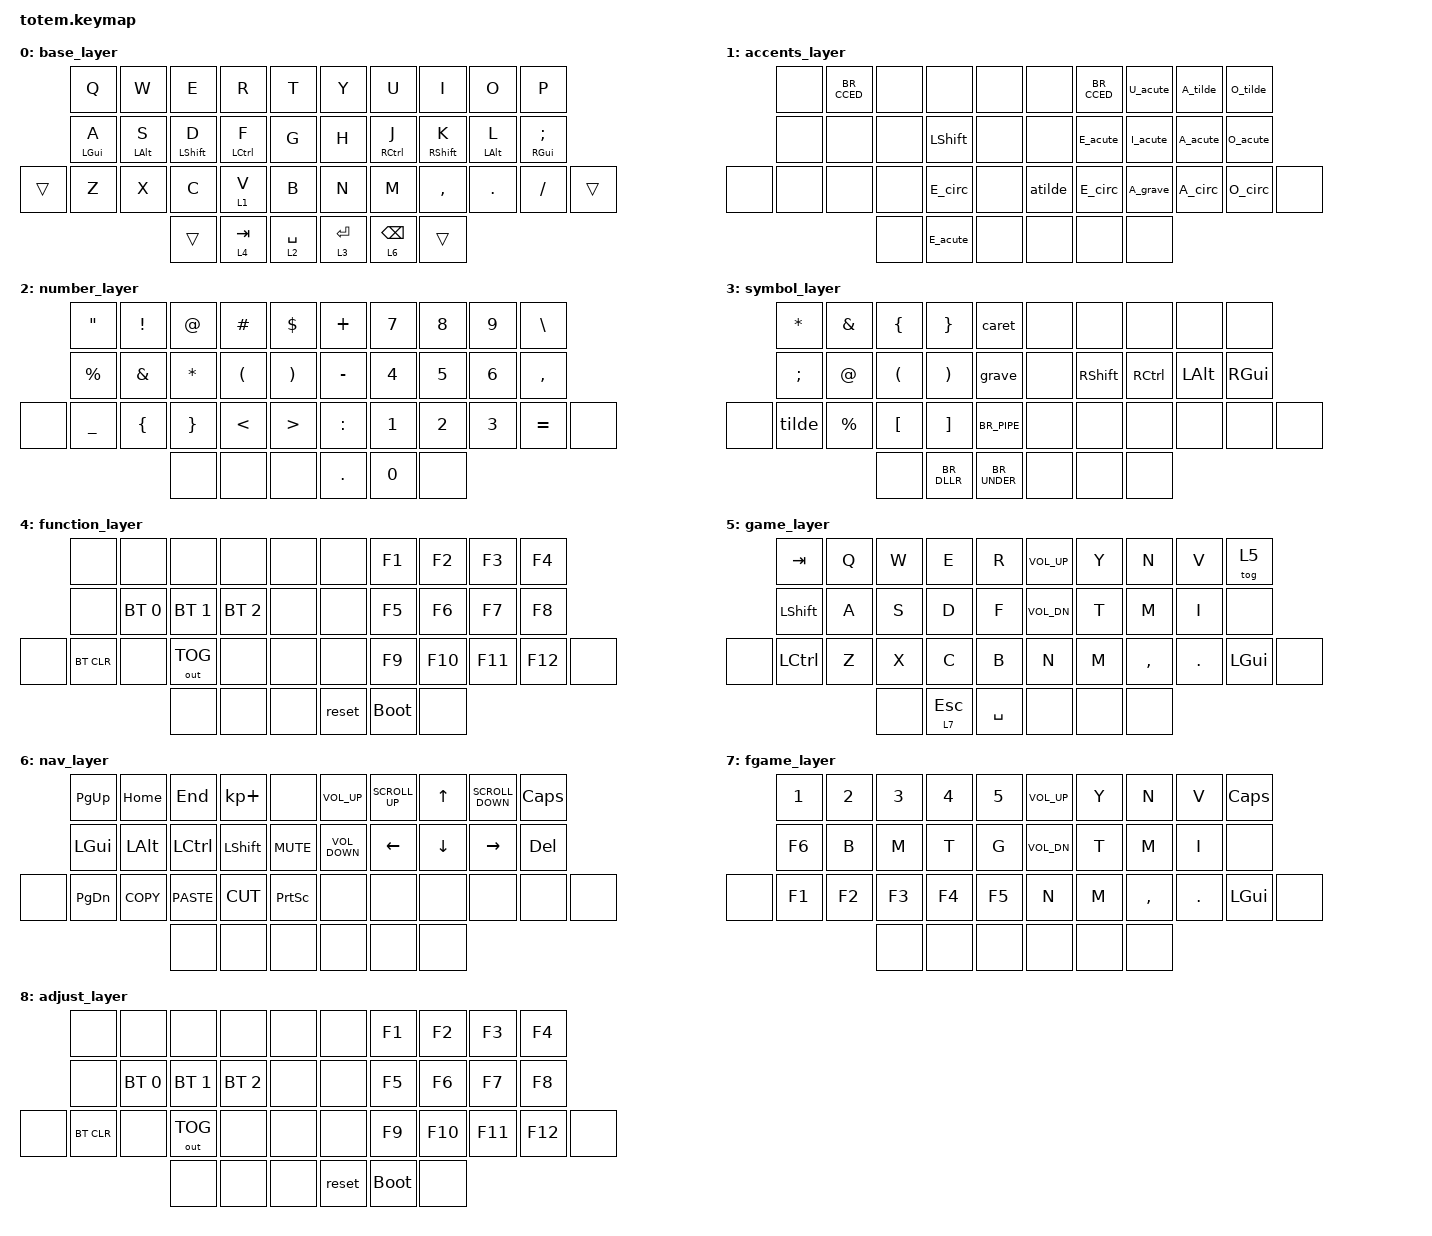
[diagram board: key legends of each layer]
//#include <behaviors.dtsi>
//#include "keys_br_abnt2.h"

#include "helper.h"
#include <accents.dtsi>
#include <dt-bindings/zmk/keys.h>
#include <dt-bindings/zmk/bt.h>
#include <dt-bindings/zmk/outputs.h>

#define BASE 0
#define ACT  1
#define NUM  2
#define SYM  3
#define FUN  4
#define gam  5
#define NAV  6
#define FGM  7
#define ADJ  8

/*AC_KEY(A_acute, BR_A, BR_ACUT)
AC_KEY(A_grave, BR_A, BR_GRAVE)
AC_KEY(A_tilde, BR_A, BR_TILDE)
AC_KEY(A_circ,  BR_A, BR_CIRC)

AC_KEY(E_acute, BR_E, BR_ACUT)
AC_KEY(E_circ,  BR_E, BR_CIRC)

AC_KEY(I_acute, BR_I, BR_ACUT)

AC_KEY(O_acute, BR_O, BR_ACUT)
AC_KEY(O_tilde, BR_O, BR_TILDE)
AC_KEY(O_circ,  BR_O, BR_CIRC)

AC_KEY(U_acute, BR_U, BR_ACUT)

UNDEAD_KEY(tilde, BR_TILDE)
UNDEAD_KEY(caret, BR_CIRC)
UNDEAD_KEY(grave, BR_GRAVE)*/

&lt {
    tapping-term-ms = <TAPPING_TERM>;
    flavor = "balanced";
};

/ {
    behaviors {
        hm: homerow_mods {
            compatible = "zmk,behavior-hold-tap";
            label = "HOMEROW_MODS";
            #binding-cells = <2>;
            tapping-term-ms = <TAPPING_TERM>;
            flavor = "balanced";
            bindings =
                <&kp>,
                <&kp>;
        };
    };

    combos {
        compatible = "zmk,combos";

        // combo_esc {
        //timeout-ms = <50>;
        //key-positions = <13 16>;
        //  bindings = <&caps_word>;
        //  };

        game {
            timeout-ms = <50>;
            bindings = <&tog 5>;
            key-positions = <9 19 30>;
            layers = <0>;
        };

        close {
            timeout-ms = <50>;
            bindings = <&close>;
            key-positions = <0 1 2 3>;
            layers = <0>;
        };

        prtsc_combo {
            timeout-ms = <50>;
            bindings = <&kp PRINTSCREEN>;
            key-positions = <5 4>;
            layers = <0>;
        };

        caps {
            timeout-ms = <50>;
            bindings = <&caps_word>;
            key-positions = <22 23 24>;
            layers = <0>;
        };

        esc {
            timeout-ms = <50>;
            bindings = <&kp ESC>;
            key-positions = <11 12 13>;
            layers = <0>;
        };

        del {
            timeout-ms = <50>;
            bindings = <&kp DEL>;
            key-positions = <8 9>;
            layers = <0>;
        };
    };

    macros {
        close: close {
            compatible = "zmk,behavior-macro";
            label = "new_macro";
            #binding-cells = <0>;
            bindings =
                <&macro_press>,
                <&kp LALT>,
                <&macro_tap>,
                <&kp F4>,
                <&macro_release>,
                <&kp LALT>;
        };
        atilde: atilde {
            compatible = "zmk,behavior-macro";
            label = "ATILDE";
            #binding-cells = <0>;
            bindings =
                <&macro_tap>,
                <&kp TILDE>,
                <&macro_tap>,
                <&kp A>;
        };
    };

    keymap {
        compatible = "zmk,keymap";

        base_layer {
            bindings = <
             &kp Q       &kp W        &kp E        &kp R        &kp T        &kp Y        &kp U        &kp I       &kp O          &kp P
        &hm LGUI A  &hm LALT S  &hm LSHFT D  &hm LCTRL F        &kp G        &kp H  &hm RCTRL J  &hm RSHFT K  &hm LALT L  &hm RGUI SEMI
&trans       &kp Z       &kp X        &kp C      &lt 1 V        &kp B        &kp N        &kp M    &kp COMMA     &kp DOT      &kp SLASH  &trans
                                     &trans    &lt 4 TAB  &lt 2 SPACE  &lt 3 ENTER   &lt 6 BSPC       &trans
            >;
        };

        accents_layer {
            bindings = <
       &none  &kp BR_CCED  &none       &none  &none    &none  &kp BR_CCED  &U_acute  &A_tilde  &O_tilde
       &none        &none  &none  &kp LSHIFT  &none    &none     &E_acute  &I_acute  &A_acute  &O_acute
&none  &none        &none  &none     &E_circ  &none  &atilde      &E_circ  &A_grave   &A_circ   &O_circ  &none
                           &none    &E_acute  &none    &none        &none     &none
            >;
        };

        number_layer {
            bindings = <
         &kp DQT  &kp EXCL     &kp AT  &kp HASH  &kp DLLR   &kp PLUS  &kp N7  &kp N8  &kp N9   &kp BSLH
       &kp PRCNT  &kp AMPS  &kp ASTRK  &kp LPAR  &kp RPAR  &kp MINUS  &kp N4  &kp N5  &kp N6  &kp COMMA
&none  &kp UNDER  &kp LBRC   &kp RBRC    &kp LT    &kp GT  &kp COLON  &kp N1  &kp N2  &kp N3  &kp EQUAL  &none
                                &none     &none     &none    &kp DOT  &kp N0   &none
            >;
        };

        symbol_layer {
            bindings = <
       &kp ASTRK   &kp AMPS  &kp LBRC     &kp RBRC        &caret  &none       &none      &none     &none     &none
        &kp SEMI     &kp AT  &kp LPAR     &kp RPAR        &grave  &none  &kp RSHIFT  &kp RCTRL  &kp LALT  &kp RGUI
&none     &tilde  &kp PRCNT  &kp LBKT     &kp RBKT   &kp BR_PIPE  &none       &none      &none     &none     &none  &none
                                &none  &kp BR_DLLR  &kp BR_UNDER  &none       &none      &none
            >;
        };

        function_layer {
            bindings = <
            &none         &none         &none         &none  &none   &none       &kp F1   &kp F2   &kp F3   &kp F4
            &none  &bt BT_SEL 0  &bt BT_SEL 1  &bt BT_SEL 2  &none   &none       &kp F5   &kp F6   &kp F7   &kp F8
&none  &bt BT_CLR         &none  &out OUT_TOG         &none  &none   &none       &kp F9  &kp F10  &kp F11  &kp F12  &none
                                        &none         &none  &none  &reset  &bootloader    &none
            >;
        };

        game_layer {
            bindings = <
         &kp TAB  &kp Q  &kp W      &kp E      &kp R  &kp C_VOL_UP  &kp Y      &kp N    &kp V    &tog 5
       &kp LSHFT  &kp A  &kp S      &kp D      &kp F  &kp C_VOL_DN  &kp T      &kp M    &kp I     &none
&none  &kp LCTRL  &kp Z  &kp X      &kp C      &kp B         &kp N  &kp M  &kp COMMA  &kp DOT  &kp LGUI  &none
                         &none  &lt 7 ESC  &kp SPACE         &none  &none      &none
            >;
        };

        nav_layer {
            bindings = <
       &kp PG_UP    &kp HOME      &kp END  &kp KP_PLUS       &none    &kp C_VOLUME_UP  &kp K_SCROLL_UP    &kp UP  &kp K_SCROLL_DOWN  &kp CAPS
        &kp LGUI    &kp LALT    &kp LCTRL   &kp LSHIFT  &kp K_MUTE  &kp C_VOLUME_DOWN         &kp LEFT  &kp DOWN          &kp RIGHT   &kp DEL
&none  &kp PG_DN  &kp K_COPY  &kp K_PASTE    &kp K_CUT   &kp PSCRN              &none            &none     &none              &none     &none  &none
                                    &none        &none       &none              &none            &none     &none
            >;
        };

        fgame_layer {
            bindings = <
       &kp N1  &kp N2  &kp N3  &kp N4  &kp N5  &kp C_VOL_UP  &kp Y      &kp N    &kp V  &kp CAPS
       &kp F6   &kp B   &kp M   &kp T   &kp G  &kp C_VOL_DN  &kp T      &kp M    &kp I     &none
&none  &kp F1  &kp F2  &kp F3  &kp F4  &kp F5         &kp N  &kp M  &kp COMMA  &kp DOT  &kp LGUI  &none
                        &none   &none   &none         &none  &none      &none
            >;
        };

        adjust_layer {
            bindings = <
            &none         &none         &none         &none  &none   &none       &kp F1   &kp F2   &kp F3   &kp F4
            &none  &bt BT_SEL 0  &bt BT_SEL 1  &bt BT_SEL 2  &none   &none       &kp F5   &kp F6   &kp F7   &kp F8
&none  &bt BT_CLR         &none  &out OUT_TOG         &none  &none   &none       &kp F9  &kp F10  &kp F11  &kp F12  &none
                                        &none         &none  &none  &reset  &bootloader    &none
            >;
        };
    };
};
